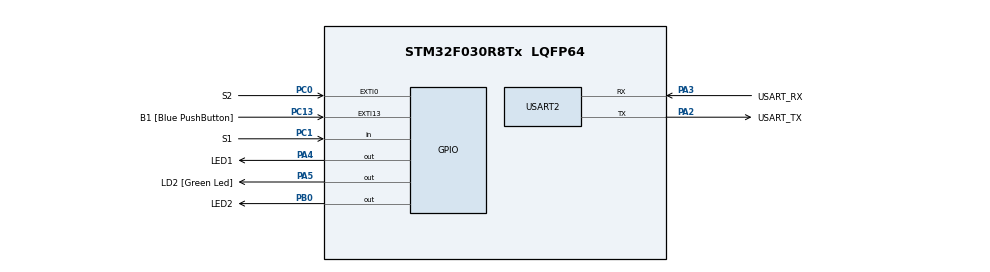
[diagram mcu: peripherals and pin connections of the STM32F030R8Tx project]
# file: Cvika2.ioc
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Mcu.Family=STM32F0
Mcu.Name=STM32F030R8Tx
Mcu.Package=LQFP64
NVIC.EXTI0_1_IRQn=true\:0\:0\:false\:false\:true\:true\:true\:true
PA13.GPIO_Label=TMS
PA13.Mode=Serial_Wire
PA13.Signal=SYS_SWDIO
PA14.GPIO_Label=TCK
PA14.Mode=Serial_Wire
PA14.Signal=SYS_SWCLK
PA2.GPIO_Label=USART_TX
PA2.GPIO_Mode=GPIO_MODE_AF_PP
PA2.GPIO_PuPd=GPIO_NOPULL
PA2.GPIO_Speed=GPIO_SPEED_FREQ_LOW
PA2.Mode=Asynchronous
PA2.Signal=USART2_TX
PA3.GPIO_Label=USART_RX
PA3.GPIO_Mode=GPIO_MODE_AF_PP
PA3.GPIO_PuPd=GPIO_NOPULL
PA3.GPIO_Speed=GPIO_SPEED_FREQ_LOW
PA3.Mode=Asynchronous
PA3.Signal=USART2_RX
PA4.GPIO_Label=LED1
PA4.Signal=GPIO_Output
PA5.GPIO_Label=LD2 [Green Led]
PA5.GPIO_Mode=GPIO_MODE_OUTPUT_PP
PA5.GPIO_PuPd=GPIO_NOPULL
PA5.GPIO_Speed=GPIO_SPEED_FREQ_LOW
PA5.Signal=GPIO_Output
PB0.GPIO_Label=LED2
PB0.Signal=GPIO_Output
PC0.GPIO_Label=S2
PC0.GPIO_ModeDefaultEXTI=GPIO_MODE_IT_FALLING
PC0.GPIO_PuPd=GPIO_PULLUP
PC0.Signal=GPXTI0
PC1.GPIO_Label=S1
PC1.GPIO_PuPd=GPIO_PULLUP
PC1.Signal=GPIO_Input
PC13.GPIO_Label=B1 [Blue PushButton]
PC13.GPIO_ModeDefaultEXTI=GPIO_MODE_IT_FALLING
PC13.Signal=GPXTI13
PC14-OSC32_IN.Mode=LSE-External-Oscillator
PC14-OSC32_IN.Signal=RCC_OSC32_IN
PC15-OSC32_OUT.Mode=LSE-External-Oscillator
PC15-OSC32_OUT.Signal=RCC_OSC32_OUT
PF0-OSC_IN.Mode=HSE-External-Clock-Source
PF0-OSC_IN.Signal=RCC_OSC_IN
PF1-OSC_OUT.Signal=RCC_OSC_OUT
ProjectManager.HeapSize=0x200
ProjectManager.StackSize=0x400
ProjectManager.TargetToolchain=STM32CubeIDE
RCC.AHBFreq_Value=48000000
RCC.APB1Freq_Value=48000000
RCC.APB1TimFreq_Value=48000000
RCC.HCLKFreq_Value=48000000
RCC.PLLMUL=RCC_PLL_MUL12
RCC.SYSCLKFreq_VALUE=48000000
RCC.SYSCLKSource=RCC_SYSCLKSOURCE_PLLCLK
USART2.VirtualMode-Asynchronous=VM_ASYNC
board=NUCLEO-F030R8

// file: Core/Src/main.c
/* USER CODE BEGIN Header */
/**
  ******************************************************************************
  * @file           : main.c
  * @brief          : Main program body
  ******************************************************************************
  * @attention
  *
  * Copyright (c) 2024 STMicroelectronics.
  * All rights reserved.
  *
  * This software is licensed under terms that can be found in the LICENSE file
  * in the root directory of this software component.
  * If no LICENSE file comes with this software, it is provided AS-IS.
  *
  ******************************************************************************
  */
/* USER CODE END Header */
#include "main.h"

/* USER CODE BEGIN PD */
#define LED_TIME_BLINK 300
#define LED_TIME_SHORT 100
#define LED_TIME_LONG  1000
#define DEBOUNCE_TIME 5
/* USER CODE END PD */

/* USER CODE BEGIN PV */
volatile uint32_t Tick;
/* USER CODE END PV */

void SystemClock_Config(void);
static void MX_GPIO_Init(void);
static void MX_USART2_UART_Init(void);

/* USER CODE BEGIN 0 */

void blink(void) //BLINK LED EACH 300MS
{
	static uint32_t delay;
	if(Tick > delay + LED_TIME_BLINK)
	{
		LL_GPIO_TogglePin(LED1_GPIO_Port, LED1_Pin);
		delay = Tick;
	}
}

void button(void)
{
	static uint32_t old_s1;
	static uint32_t old_s2;
	static uint32_t off_time;
	static uint32_t delay = 0;

	uint32_t new_s1 = LL_GPIO_IsInputPinSet(S1_GPIO_Port, S1_Pin);
	uint32_t new_s2 = LL_GPIO_IsInputPinSet(S2_GPIO_Port, S2_Pin);

	if(Tick > delay + 40 )
	{
		if (old_s2 && !new_s2)
		{
			off_time = Tick + LED_TIME_SHORT; //LIGHT UP FOR 100ms
			LL_GPIO_SetOutputPin(LED2_GPIO_Port, LED2_Pin);
		}
		old_s2 = new_s2;

		if (old_s1 && !new_s1)
		{
			off_time = Tick + LED_TIME_LONG; //LIGHT UP FOR 1000ms
			LL_GPIO_SetOutputPin(LED2_GPIO_Port, LED2_Pin);
		}
		old_s1 = new_s1;
		delay = Tick;
	}

	if (Tick > off_time) //TURN THE LED OFF
	{
		LL_GPIO_ResetOutputPin(LED2_GPIO_Port, LED2_Pin);
	}

}

void debounceButton(void)
{
	static uint16_t debounce = 0x0000;
	uint32_t currentTime = Tick;
	static uint32_t lastUpdate = 0;

	if ((currentTime - lastUpdate) >= DEBOUNCE_TIME)
	{
		debounce  = debounce << 1;

		if(!LL_GPIO_IsInputPinSet(S1_GPIO_Port, S1_Pin))
		{
			debounce |= 0x0001;
		}
		lastUpdate = currentTime;

		if(debounce == 0x7FFF)
		{
			LL_GPIO_TogglePin(LED2_GPIO_Port, LED2_Pin);
		}

	}

}

/* USER CODE END 0 */

int main(void)
{

  /* MCU Configuration--------------------------------------------------------*/

  /* Reset of all peripherals, Initializes the Flash interface and the Systick. */
  LL_APB1_GRP2_EnableClock(LL_APB1_GRP2_PERIPH_SYSCFG);
  LL_APB1_GRP1_EnableClock(LL_APB1_GRP1_PERIPH_PWR);

  /* Configure the system clock */
  SystemClock_Config();

  /* Initialize all configured peripherals */
  MX_GPIO_Init();
  MX_USART2_UART_Init();
  /* USER CODE BEGIN 2 */
  LL_SYSTICK_EnableIT();
  /* USER CODE END 2 */

  /* Infinite loop */
  /* USER CODE BEGIN WHILE */
  while (1)
  {
	  blink();
	  //button();
	  debounceButton();

    /* USER CODE END WHILE */

  }
}

void SystemClock_Config(void)
{
  LL_FLASH_SetLatency(LL_FLASH_LATENCY_1);
  while(LL_FLASH_GetLatency() != LL_FLASH_LATENCY_1)
  {
  }
  LL_RCC_HSI_Enable();

   /* Wait till HSI is ready */
  while(LL_RCC_HSI_IsReady() != 1)
  {

  }
  LL_RCC_HSI_SetCalibTrimming(16);
  LL_RCC_PLL_ConfigDomain_SYS(LL_RCC_PLLSOURCE_HSI_DIV_2, LL_RCC_PLL_MUL_12);
  LL_RCC_PLL_Enable();

   /* Wait till PLL is ready */
  while(LL_RCC_PLL_IsReady() != 1)
  {

  }
  LL_RCC_SetAHBPrescaler(LL_RCC_SYSCLK_DIV_1);
  LL_RCC_SetAPB1Prescaler(LL_RCC_APB1_DIV_1);
  LL_RCC_SetSysClkSource(LL_RCC_SYS_CLKSOURCE_PLL);

   /* Wait till System clock is ready */
  while(LL_RCC_GetSysClkSource() != LL_RCC_SYS_CLKSOURCE_STATUS_PLL)
  {

  }
  LL_Init1msTick(48000000);
  LL_SetSystemCoreClock(48000000);
}

static void MX_USART2_UART_Init(void)
{

  LL_USART_InitTypeDef USART_InitStruct = {0};

  LL_GPIO_InitTypeDef GPIO_InitStruct = {0};

  /* Peripheral clock enable */
  LL_APB1_GRP1_EnableClock(LL_APB1_GRP1_PERIPH_USART2);

  LL_AHB1_GRP1_EnableClock(LL_AHB1_GRP1_PERIPH_GPIOA);
  /**USART2 GPIO Configuration
  PA2   ------> USART2_TX
  PA3   ------> USART2_RX
  */
  GPIO_InitStruct.Pin = USART_TX_Pin;
  GPIO_InitStruct.Mode = LL_GPIO_MODE_ALTERNATE;
  GPIO_InitStruct.Speed = LL_GPIO_SPEED_FREQ_LOW;
  GPIO_InitStruct.OutputType = LL_GPIO_OUTPUT_PUSHPULL;
  GPIO_InitStruct.Pull = LL_GPIO_PULL_NO;
  GPIO_InitStruct.Alternate = LL_GPIO_AF_1;
  LL_GPIO_Init(USART_TX_GPIO_Port, &GPIO_InitStruct);

  GPIO_InitStruct.Pin = USART_RX_Pin;
  GPIO_InitStruct.Mode = LL_GPIO_MODE_ALTERNATE;
  GPIO_InitStruct.Speed = LL_GPIO_SPEED_FREQ_LOW;
  GPIO_InitStruct.OutputType = LL_GPIO_OUTPUT_PUSHPULL;
  GPIO_InitStruct.Pull = LL_GPIO_PULL_NO;
  GPIO_InitStruct.Alternate = LL_GPIO_AF_1;
  LL_GPIO_Init(USART_RX_GPIO_Port, &GPIO_InitStruct);

  USART_InitStruct.BaudRate = 38400;
  USART_InitStruct.DataWidth = LL_USART_DATAWIDTH_8B;
  USART_InitStruct.StopBits = LL_USART_STOPBITS_1;
  USART_InitStruct.Parity = LL_USART_PARITY_NONE;
  USART_InitStruct.TransferDirection = LL_USART_DIRECTION_TX_RX;
  USART_InitStruct.HardwareFlowControl = LL_USART_HWCONTROL_NONE;
  USART_InitStruct.OverSampling = LL_USART_OVERSAMPLING_16;
  LL_USART_Init(USART2, &USART_InitStruct);
  LL_USART_DisableIT_CTS(USART2);
  LL_USART_ConfigAsyncMode(USART2);
  LL_USART_Enable(USART2);

}

static void MX_GPIO_Init(void)
{
  LL_EXTI_InitTypeDef EXTI_InitStruct = {0};
  LL_GPIO_InitTypeDef GPIO_InitStruct = {0};

  /* GPIO Ports Clock Enable */
  LL_AHB1_GRP1_EnableClock(LL_AHB1_GRP1_PERIPH_GPIOC);
  LL_AHB1_GRP1_EnableClock(LL_AHB1_GRP1_PERIPH_GPIOF);
  LL_AHB1_GRP1_EnableClock(LL_AHB1_GRP1_PERIPH_GPIOA);
  LL_AHB1_GRP1_EnableClock(LL_AHB1_GRP1_PERIPH_GPIOB);

  /**/
  LL_GPIO_ResetOutputPin(LED1_GPIO_Port, LED1_Pin);

  /**/
  LL_GPIO_ResetOutputPin(LD2_GPIO_Port, LD2_Pin);

  /**/
  LL_GPIO_ResetOutputPin(LED2_GPIO_Port, LED2_Pin);

  /**/
  LL_SYSCFG_SetEXTISource(LL_SYSCFG_EXTI_PORTC, LL_SYSCFG_EXTI_LINE13);

  /**/
  LL_SYSCFG_SetEXTISource(LL_SYSCFG_EXTI_PORTC, LL_SYSCFG_EXTI_LINE0);

  /**/
  LL_GPIO_SetPinPull(B1_GPIO_Port, B1_Pin, LL_GPIO_PULL_NO);

  /**/
  LL_GPIO_SetPinPull(S2_GPIO_Port, S2_Pin, LL_GPIO_PULL_UP);

  /**/
  LL_GPIO_SetPinMode(B1_GPIO_Port, B1_Pin, LL_GPIO_MODE_INPUT);

  /**/
  LL_GPIO_SetPinMode(S2_GPIO_Port, S2_Pin, LL_GPIO_MODE_INPUT);

  /**/
  EXTI_InitStruct.Line_0_31 = LL_EXTI_LINE_13;
  EXTI_InitStruct.LineCommand = ENABLE;
  EXTI_InitStruct.Mode = LL_EXTI_MODE_IT;
  EXTI_InitStruct.Trigger = LL_EXTI_TRIGGER_FALLING;
  LL_EXTI_Init(&EXTI_InitStruct);

  /**/
  EXTI_InitStruct.Line_0_31 = LL_EXTI_LINE_0;
  EXTI_InitStruct.LineCommand = ENABLE;
  EXTI_InitStruct.Mode = LL_EXTI_MODE_IT;
  EXTI_InitStruct.Trigger = LL_EXTI_TRIGGER_FALLING;
  LL_EXTI_Init(&EXTI_InitStruct);

  /**/
  GPIO_InitStruct.Pin = S1_Pin;
  GPIO_InitStruct.Mode = LL_GPIO_MODE_INPUT;
  GPIO_InitStruct.Pull = LL_GPIO_PULL_UP;
  LL_GPIO_Init(S1_GPIO_Port, &GPIO_InitStruct);

  /**/
  GPIO_InitStruct.Pin = LED1_Pin;
  GPIO_InitStruct.Mode = LL_GPIO_MODE_OUTPUT;
  GPIO_InitStruct.Speed = LL_GPIO_SPEED_FREQ_LOW;
  GPIO_InitStruct.OutputType = LL_GPIO_OUTPUT_PUSHPULL;
  GPIO_InitStruct.Pull = LL_GPIO_PULL_NO;
  LL_GPIO_Init(LED1_GPIO_Port, &GPIO_InitStruct);

  /**/
  GPIO_InitStruct.Pin = LD2_Pin;
  GPIO_InitStruct.Mode = LL_GPIO_MODE_OUTPUT;
  GPIO_InitStruct.Speed = LL_GPIO_SPEED_FREQ_LOW;
  GPIO_InitStruct.OutputType = LL_GPIO_OUTPUT_PUSHPULL;
  GPIO_InitStruct.Pull = LL_GPIO_PULL_NO;
  LL_GPIO_Init(LD2_GPIO_Port, &GPIO_InitStruct);

  /**/
  GPIO_InitStruct.Pin = LED2_Pin;
  GPIO_InitStruct.Mode = LL_GPIO_MODE_OUTPUT;
  GPIO_InitStruct.Speed = LL_GPIO_SPEED_FREQ_LOW;
  GPIO_InitStruct.OutputType = LL_GPIO_OUTPUT_PUSHPULL;
  GPIO_InitStruct.Pull = LL_GPIO_PULL_NO;
  LL_GPIO_Init(LED2_GPIO_Port, &GPIO_InitStruct);

  /* EXTI interrupt init*/
  NVIC_SetPriority(EXTI0_1_IRQn, 0);
  NVIC_EnableIRQ(EXTI0_1_IRQn);

}

void Error_Handler(void)
{
  __disable_irq();
  while (1)
  {
  }
}
